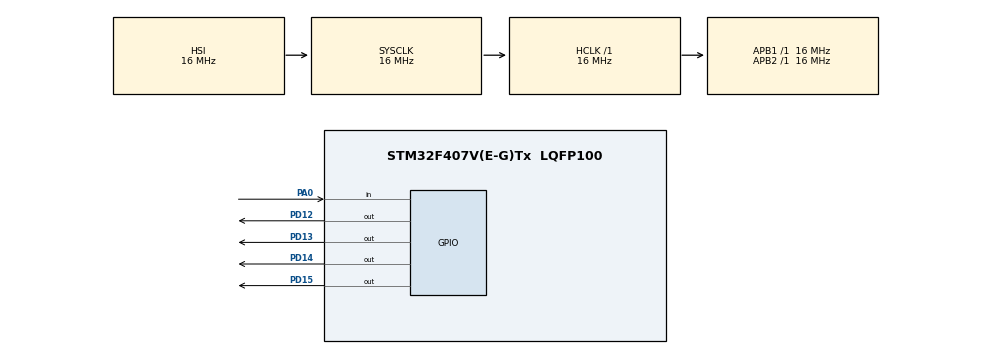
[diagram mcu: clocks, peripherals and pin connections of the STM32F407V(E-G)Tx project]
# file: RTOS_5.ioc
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Mcu.Family=STM32F4
Mcu.Name=STM32F407V(E-G)Tx
Mcu.Package=LQFP100
NVIC.PriorityGroup=NVIC_PRIORITYGROUP_4
NVIC.TIM1_UP_TIM10_IRQn=true\:15\:0\:false\:false\:true\:false\:true\:true
NVIC.TimeBase=TIM1_UP_TIM10_IRQn
NVIC.TimeBaseIP=TIM1
PA0-WKUP.Signal=GPIO_Input
PD12.Signal=GPIO_Output
PD13.Signal=GPIO_Output
PD14.Signal=GPIO_Output
PD15.Signal=GPIO_Output
ProjectManager.HeapSize=0x200
ProjectManager.StackSize=0x400
ProjectManager.TargetToolchain=STM32CubeIDE
RCC.AHBFreq_Value=16000000
RCC.APB1Freq_Value=16000000
RCC.APB2Freq_Value=16000000
RCC.CortexFreq_Value=16000000
RCC.HSE_VALUE=25000000
RCC.HSI_VALUE=16000000
RCC.LSE_VALUE=32768
RCC.SYSCLKFreq_VALUE=16000000
RCC.VCOOutputFreq_Value=192000000
VP_SYS_VS_tim1.Mode=TIM1
board=custom

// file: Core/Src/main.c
/* USER CODE BEGIN Header */
/**
  ******************************************************************************
  * @file           : main.c
  * @brief          : Main program body
  ******************************************************************************
  * @attention
  *
  * Copyright (c) 2024 STMicroelectronics.
  * All rights reserved.
  *
  * This software is licensed under terms that can be found in the LICENSE file
  * in the root directory of this software component.
  * If no LICENSE file comes with this software, it is provided AS-IS.
  *
  ******************************************************************************
  */

 /**
 *@attention
 * Before Starting this Program make sure you update below in FreeRTOSConfig.h
 #define configUSE_PREEMPTION			0
 * NOTES:
 * - This will make Scheduler in the Cooperative mode
 * - Task will be executed in sequnce until completion
 *   Notice ALL LED's will blink at same time
 */
/* USER CODE END Header */
#include "main.h"

/* USER CODE BEGIN Includes */
#include "FreeRTOS.h"
#include "task.h"
#include "timers.h"
#include "queue.h"
#include "semphr.h"
#include "event_groups.h"
#include "SEGGER_SYSVIEW.h"

/* USER CODE END Includes */

void SystemClock_Config(void);
static void MX_GPIO_Init(void);
/* USER CODE BEGIN PFP */
void Task1(void *argument);
void Task2(void *argument);
void Task3(void *argument);
/* USER CODE END PFP */

int main(void)
{

  /* USER CODE BEGIN 1 */
	const static uint32_t stackSize = 128;

  /* USER CODE END 1 */

  /* MCU Configuration--------------------------------------------------------*/

  /* Reset of all peripherals, Initializes the Flash interface and the Systick. */
  HAL_Init();

  /* Configure the system clock */
  SystemClock_Config();

  /* Initialize all configured peripherals */
  MX_GPIO_Init();
  /* USER CODE BEGIN 2 */
  SEGGER_SYSVIEW_Conf();
   if (xTaskCreate(Task1, "task1", stackSize, NULL, tskIDLE_PRIORITY, NULL) == pdPASS)
     	{
     		if (xTaskCreate(Task2, "task2", stackSize, NULL, tskIDLE_PRIORITY, NULL) == pdPASS)
     		{
     			if (xTaskCreate(Task3, "task3", stackSize, NULL, tskIDLE_PRIORITY, NULL) == pdPASS)
     			{
     				//start the scheduler - shouldn't return unless there's a problem
     				vTaskStartScheduler();
     			}
     		}
     	}
  /* USER CODE END 2 */

  /* Infinite loop */
  while (1)
  {

  }
}

void SystemClock_Config(void)
{
  RCC_OscInitTypeDef RCC_OscInitStruct = {0};
  RCC_ClkInitTypeDef RCC_ClkInitStruct = {0};

  /** Configure the main internal regulator output voltage
  */
  __HAL_RCC_PWR_CLK_ENABLE();
  __HAL_PWR_VOLTAGESCALING_CONFIG(PWR_REGULATOR_VOLTAGE_SCALE1);

  /** Initializes the RCC Oscillators according to the specified parameters
  * in the RCC_OscInitTypeDef structure.
  */
  RCC_OscInitStruct.OscillatorType = RCC_OSCILLATORTYPE_HSI;
  RCC_OscInitStruct.HSIState = RCC_HSI_ON;
  RCC_OscInitStruct.HSICalibrationValue = RCC_HSICALIBRATION_DEFAULT;
  RCC_OscInitStruct.PLL.PLLState = RCC_PLL_NONE;
  if (HAL_RCC_OscConfig(&RCC_OscInitStruct) != HAL_OK)
  {
    Error_Handler();
  }

  /** Initializes the CPU, AHB and APB buses clocks
  */
  RCC_ClkInitStruct.ClockType = RCC_CLOCKTYPE_HCLK|RCC_CLOCKTYPE_SYSCLK
                              |RCC_CLOCKTYPE_PCLK1|RCC_CLOCKTYPE_PCLK2;
  RCC_ClkInitStruct.SYSCLKSource = RCC_SYSCLKSOURCE_HSI;
  RCC_ClkInitStruct.AHBCLKDivider = RCC_SYSCLK_DIV1;
  RCC_ClkInitStruct.APB1CLKDivider = RCC_HCLK_DIV1;
  RCC_ClkInitStruct.APB2CLKDivider = RCC_HCLK_DIV1;

  if (HAL_RCC_ClockConfig(&RCC_ClkInitStruct, FLASH_LATENCY_0) != HAL_OK)
  {
    Error_Handler();
  }
}

static void MX_GPIO_Init(void)
{
  GPIO_InitTypeDef GPIO_InitStruct = {0};

  /* GPIO Ports Clock Enable */
  __HAL_RCC_GPIOA_CLK_ENABLE();
  __HAL_RCC_GPIOD_CLK_ENABLE();

  /*Configure GPIO pin Output Level */
  HAL_GPIO_WritePin(GPIOD, GPIO_PIN_12|GPIO_PIN_13|GPIO_PIN_14|GPIO_PIN_15, GPIO_PIN_RESET);

  /*Configure GPIO pin : PA0 */
  GPIO_InitStruct.Pin = GPIO_PIN_0;
  GPIO_InitStruct.Mode = GPIO_MODE_INPUT;
  GPIO_InitStruct.Pull = GPIO_NOPULL;
  HAL_GPIO_Init(GPIOA, &GPIO_InitStruct);

  /*Configure GPIO pins : PD12 PD13 PD14 PD15 */
  GPIO_InitStruct.Pin = GPIO_PIN_12|GPIO_PIN_13|GPIO_PIN_14|GPIO_PIN_15;
  GPIO_InitStruct.Mode = GPIO_MODE_OUTPUT_PP;
  GPIO_InitStruct.Pull = GPIO_NOPULL;
  GPIO_InitStruct.Speed = GPIO_SPEED_FREQ_LOW;
  HAL_GPIO_Init(GPIOD, &GPIO_InitStruct);

}

/* USER CODE BEGIN 4 */
/**
 * Before Starting this Program make sure you update below in FreeRTOSConfig.h
 #define configUSE_PREEMPTION			0
 * NOTES:
 * - This will make Scheduler in the Cooperative mode
 * - Task will be executed in sequnce until completion
 *   Notice ALL LED's will blink at same time
 */
void Task1(void *argument)
{
  while(1)
  {
	  SEGGER_SYSVIEW_PrintfHost("Task1\n");
	  for(int i = 0; i < 3; i++)
		{
				HAL_GPIO_WritePin(GPIOD, GPIO_PIN_12, SET);
				vTaskDelay(250 / portTICK_PERIOD_MS);
				HAL_GPIO_WritePin(GPIOD, GPIO_PIN_12, RESET);
				vTaskDelay(250 / portTICK_PERIOD_MS);

		}
		//It will perform context Switch to Other Task
		taskYIELD();
  }
}

void Task2( void* argument )
{
  while(1)
  {
	  SEGGER_SYSVIEW_PrintfHost("Task2\n");
	  for(int i = 0; i < 3; i++)
		{
				HAL_GPIO_WritePin(GPIOD, GPIO_PIN_13, SET);
				vTaskDelay(250 / portTICK_PERIOD_MS);
				HAL_GPIO_WritePin(GPIOD, GPIO_PIN_13, RESET);
				vTaskDelay(250 / portTICK_PERIOD_MS);
		}
		taskYIELD();
	}
}

void Task3( void* argument )
{
	while(1)
	{
	  SEGGER_SYSVIEW_PrintfHost("Task3\n");
	  for(int i = 0; i < 3; i++)
		{
				HAL_GPIO_WritePin(GPIOD, GPIO_PIN_14, SET);
				vTaskDelay(250 / portTICK_PERIOD_MS);
				HAL_GPIO_WritePin(GPIOD, GPIO_PIN_14, RESET);
				vTaskDelay(250 / portTICK_PERIOD_MS);
		}
		taskYIELD();
	}
}

/* USER CODE END 4 */

void HAL_TIM_PeriodElapsedCallback(TIM_HandleTypeDef *htim)
{
  if (htim->Instance == TIM1) {
    HAL_IncTick();
  }
}

void Error_Handler(void)
{
  __disable_irq();
  while (1)
  {
  }
}

#ifdef  USE_FULL_ASSERT
/**
  * @brief  Reports the name of the source file and the source line number
  *         where the assert_param error has occurred.
  * @param  file: pointer to the source file name
  * @param  line: assert_param error line source number
  * @retval None
  */
void assert_failed(uint8_t *file, uint32_t line)
{
  /* USER CODE BEGIN 6 */
	SEGGER_SYSVIEW_PrintfHost("Assertion Failed:file %s on line %d\r\n", file, line);
	while(1);
  /* USER CODE END 6 */
}
#endif /* USE_FULL_ASSERT */
